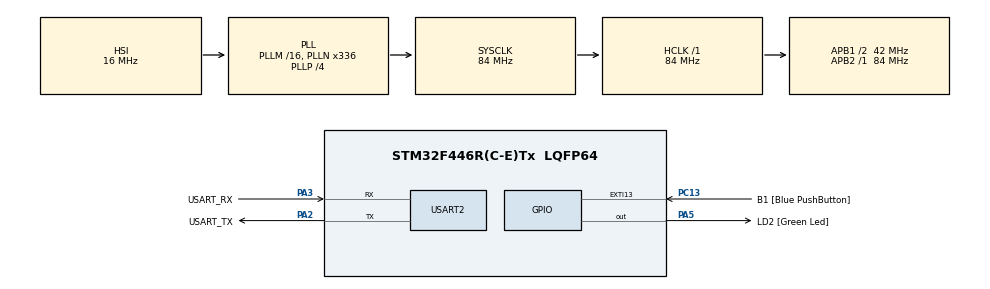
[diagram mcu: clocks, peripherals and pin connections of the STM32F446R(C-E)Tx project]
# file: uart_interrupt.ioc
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Mcu.Family=STM32F4
Mcu.Name=STM32F446R(C-E)Tx
Mcu.Package=LQFP64
NVIC.PriorityGroup=NVIC_PRIORITYGROUP_0
NVIC.USART2_IRQn=true\:0\:0\:false\:false\:true\:true\:true\:true
PA13.GPIO_Label=TMS
PA13.Mode=Serial_Wire
PA13.Signal=SYS_JTMS-SWDIO
PA14.GPIO_Label=TCK
PA14.Mode=Serial_Wire
PA14.Signal=SYS_JTCK-SWCLK
PA2.GPIO_Label=USART_TX
PA2.Mode=Asynchronous
PA2.Signal=USART2_TX
PA3.GPIO_Label=USART_RX
PA3.Mode=Asynchronous
PA3.Signal=USART2_RX
PA5.GPIO_Label=LD2 [Green Led]
PA5.Signal=GPIO_Output
PB3.GPIO_Label=SWO
PB3.Signal=SYS_JTDO-SWO
PC13.GPIO_Label=B1 [Blue PushButton]
PC13.GPIO_ModeDefaultEXTI=GPIO_MODE_IT_FALLING
PC13.Signal=GPXTI13
PC14-OSC32_IN.Mode=LSE-External-Oscillator
PC14-OSC32_IN.Signal=RCC_OSC32_IN
PC15-OSC32_OUT.Mode=LSE-External-Oscillator
PC15-OSC32_OUT.Signal=RCC_OSC32_OUT
PH0-OSC_IN.Mode=HSE-External-Oscillator
PH0-OSC_IN.Signal=RCC_OSC_IN
PH1-OSC_OUT.Mode=HSE-External-Oscillator
PH1-OSC_OUT.Signal=RCC_OSC_OUT
ProjectManager.HeapSize=0x200
ProjectManager.StackSize=0x400
ProjectManager.TargetToolchain=STM32CubeIDE
RCC.48MHZClocksFreq_Value=84000000
RCC.AHBFreq_Value=84000000
RCC.APB1CLKDivider=RCC_HCLK_DIV2
RCC.APB1Freq_Value=42000000
RCC.APB1TimFreq_Value=84000000
RCC.APB2Freq_Value=84000000
RCC.APB2TimFreq_Value=84000000
RCC.CortexFreq_Value=84000000
RCC.FLatency-AdvancedSettings=FLASH_LATENCY_2
RCC.HCLKFreq_Value=84000000
RCC.HSE_VALUE=8000000
RCC.HSI_VALUE=16000000
RCC.PLLN=336
RCC.PLLP=RCC_PLLP_DIV4
RCC.SYSCLKFreq_VALUE=84000000
RCC.SYSCLKSource=RCC_SYSCLKSOURCE_PLLCLK
RCC.USBFreq_Value=168000000
RCC.VCOOutputFreq_Value=336000000
USART2.VirtualMode=VM_ASYNC
board=NUCLEO-F446RE

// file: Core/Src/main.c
/* USER CODE BEGIN Header */
/**
  ******************************************************************************
  * @file           : main.c
  * @brief          : Main program body
  ******************************************************************************
  * @attention
  *
  * Copyright (c) 2023 STMicroelectronics.
  * All rights reserved.
  *
  * This software is licensed under terms that can be found in the LICENSE file
  * in the root directory of this software component.
  * If no LICENSE file comes with this software, it is provided AS-IS.
  *
  ******************************************************************************
  */
/* USER CODE END Header */
#include "main.h"

/* USER CODE BEGIN Includes */
#include <memory.h>
/* USER CODE END Includes */

UART_HandleTypeDef huart2;

void SystemClock_Config(void);
static void MX_GPIO_Init(void);
static void MX_USART2_UART_Init(void);

/* USER CODE BEGIN 0 */
#define RX_BUFF_SIZE 256
uint8_t rx_buff[RX_BUFF_SIZE];
uint8_t a_rx_c;
uint8_t rx_buff_index = 0;
/* USER CODE END 0 */

int main(void)
{

  /* MCU Configuration--------------------------------------------------------*/

  /* Reset of all peripherals, Initializes the Flash interface and the Systick. */
  HAL_Init();

  /* Configure the system clock */
  SystemClock_Config();

  /* Initialize all configured peripherals */
  MX_GPIO_Init();
  MX_USART2_UART_Init();
  /* USER CODE BEGIN 2 */
  HAL_UART_Receive_IT(&huart2, &a_rx_c, 1);
  /* USER CODE END 2 */

  /* Infinite loop */
  while (1)
  {

  }
}

void SystemClock_Config(void)
{
  RCC_OscInitTypeDef RCC_OscInitStruct = {0};
  RCC_ClkInitTypeDef RCC_ClkInitStruct = {0};

  /** Configure the main internal regulator output voltage
  */
  __HAL_RCC_PWR_CLK_ENABLE();
  __HAL_PWR_VOLTAGESCALING_CONFIG(PWR_REGULATOR_VOLTAGE_SCALE3);

  /** Initializes the RCC Oscillators according to the specified parameters
  * in the RCC_OscInitTypeDef structure.
  */
  RCC_OscInitStruct.OscillatorType = RCC_OSCILLATORTYPE_HSI;
  RCC_OscInitStruct.HSIState = RCC_HSI_ON;
  RCC_OscInitStruct.HSICalibrationValue = RCC_HSICALIBRATION_DEFAULT;
  RCC_OscInitStruct.PLL.PLLState = RCC_PLL_ON;
  RCC_OscInitStruct.PLL.PLLSource = RCC_PLLSOURCE_HSI;
  RCC_OscInitStruct.PLL.PLLM = 16;
  RCC_OscInitStruct.PLL.PLLN = 336;
  RCC_OscInitStruct.PLL.PLLP = RCC_PLLP_DIV4;
  RCC_OscInitStruct.PLL.PLLQ = 2;
  RCC_OscInitStruct.PLL.PLLR = 2;
  if (HAL_RCC_OscConfig(&RCC_OscInitStruct) != HAL_OK)
  {
    Error_Handler();
  }

  /** Initializes the CPU, AHB and APB buses clocks
  */
  RCC_ClkInitStruct.ClockType = RCC_CLOCKTYPE_HCLK|RCC_CLOCKTYPE_SYSCLK
                              |RCC_CLOCKTYPE_PCLK1|RCC_CLOCKTYPE_PCLK2;
  RCC_ClkInitStruct.SYSCLKSource = RCC_SYSCLKSOURCE_PLLCLK;
  RCC_ClkInitStruct.AHBCLKDivider = RCC_SYSCLK_DIV1;
  RCC_ClkInitStruct.APB1CLKDivider = RCC_HCLK_DIV2;
  RCC_ClkInitStruct.APB2CLKDivider = RCC_HCLK_DIV1;

  if (HAL_RCC_ClockConfig(&RCC_ClkInitStruct, FLASH_LATENCY_2) != HAL_OK)
  {
    Error_Handler();
  }
}

static void MX_USART2_UART_Init(void)
{

  huart2.Instance = USART2;
  huart2.Init.BaudRate = 115200;
  huart2.Init.WordLength = UART_WORDLENGTH_8B;
  huart2.Init.StopBits = UART_STOPBITS_1;
  huart2.Init.Parity = UART_PARITY_NONE;
  huart2.Init.Mode = UART_MODE_TX_RX;
  huart2.Init.HwFlowCtl = UART_HWCONTROL_NONE;
  huart2.Init.OverSampling = UART_OVERSAMPLING_16;
  if (HAL_UART_Init(&huart2) != HAL_OK)
  {
    Error_Handler();
  }

}

static void MX_GPIO_Init(void)
{
  GPIO_InitTypeDef GPIO_InitStruct = {0};

  /* GPIO Ports Clock Enable */
  __HAL_RCC_GPIOC_CLK_ENABLE();
  __HAL_RCC_GPIOH_CLK_ENABLE();
  __HAL_RCC_GPIOA_CLK_ENABLE();
  __HAL_RCC_GPIOB_CLK_ENABLE();

  /*Configure GPIO pin Output Level */
  HAL_GPIO_WritePin(LD2_GPIO_Port, LD2_Pin, GPIO_PIN_RESET);

  /*Configure GPIO pin : B1_Pin */
  GPIO_InitStruct.Pin = B1_Pin;
  GPIO_InitStruct.Mode = GPIO_MODE_IT_FALLING;
  GPIO_InitStruct.Pull = GPIO_NOPULL;
  HAL_GPIO_Init(B1_GPIO_Port, &GPIO_InitStruct);

  /*Configure GPIO pin : LD2_Pin */
  GPIO_InitStruct.Pin = LD2_Pin;
  GPIO_InitStruct.Mode = GPIO_MODE_OUTPUT_PP;
  GPIO_InitStruct.Pull = GPIO_NOPULL;
  GPIO_InitStruct.Speed = GPIO_SPEED_FREQ_LOW;
  HAL_GPIO_Init(LD2_GPIO_Port, &GPIO_InitStruct);

}

/* USER CODE BEGIN 4 */
void HAL_UART_RxCpltCallback(UART_HandleTypeDef *huart)
{
	rx_buff[rx_buff_index] = a_rx_c;
	rx_buff_index++;

	if ( (rx_buff[rx_buff_index-1] == 0x0A) && (rx_buff[rx_buff_index-2] == 0x0D))
	{
		uint8_t txBuf[20] = "OK";
		HAL_UART_Transmit_IT(&huart2, txBuf, 20);

		// reset buffer index
		rx_buff_index = 0;
		memset(rx_buff, 0x00, RX_BUFF_SIZE);
	}

	HAL_UART_Receive_IT(&huart2, &a_rx_c, 1);
}
/* USER CODE END 4 */

void Error_Handler(void)
{
  __disable_irq();
  while (1)
  {
  }
}
